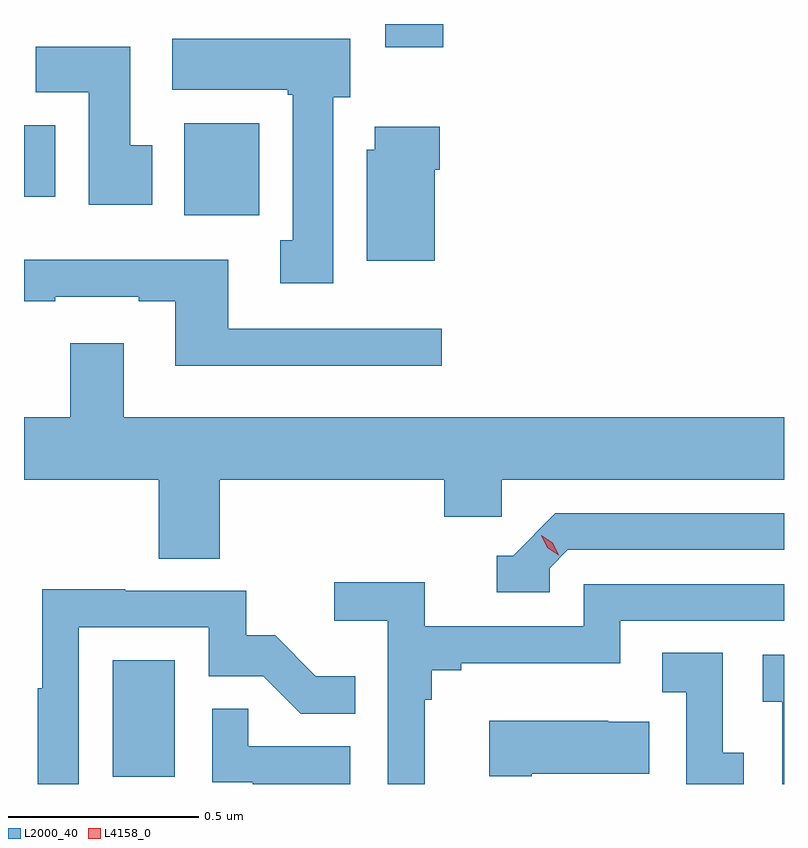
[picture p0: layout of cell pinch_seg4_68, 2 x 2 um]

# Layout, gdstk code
import gdstk
lib = gdstk.Library(unit=1e-6, precision=1e-09)
def R(c, l, rs):  # rectangles x0, y0, x1, y1
    for r in rs: c.add(gdstk.rectangle(r[:2], r[2:], *l))
def P(c, l, *ps):  # polygons
    for p in ps: c.add(gdstk.Polygon(p, *l))
L2000_40 = (2000, 40)
L4158_0 = (4158, 0)

pinch_seg4_68 = lib.new_cell('pinch_seg4_68')
R(pinch_seg4_68, L2000_40, [(1041.554,830.67,1041.718,830.977), (1041.743,832.148,1041.94,832.39), (1041.321,832.196,1041.403,832.384), (1042.271,832.59,1042.424,832.651)])
P(pinch_seg4_68, L2000_40, [(1042.135,832.458),(1042.18,832.458),(1042.18,832.612),(1041.711,832.612),(1041.711,832.478),(1042.015,832.478),(1042.015,832.465),(1042.028,832.465),(1042.028,832.082),(1041.995,832.082),(1041.995,831.969),(1042.135,831.969)],
  [(1041.658,832.332),(1041.601,832.332),(1041.601,832.591),(1041.352,832.591),(1041.352,832.472),(1041.491,832.472),(1041.491,832.176),(1041.658,832.176)],
  [(1042.402,832.268),(1042.415,832.268),(1042.415,832.381),(1042.244,832.381),(1042.244,832.32),(1042.223,832.32),(1042.223,832.028),(1042.402,832.028)],
  [(1042.42,831.849),(1041.859,831.849),(1041.859,832.03),(1041.321,832.03),(1041.321,831.921),(1041.403,831.921),(1041.403,831.933),(1041.623,831.933),(1041.623,831.921),(1041.719,831.921),(1041.719,831.752),(1042.42,831.752)],
  [(1041.836,831.452),(1042.427,831.452),(1042.427,831.354),(1042.578,831.354),(1042.578,831.452),(1043.321,831.452),(1043.321,831.616),(1041.583,831.616),(1041.583,831.811),(1041.443,831.811),(1041.443,831.616),(1041.321,831.616),(1041.321,831.452),(1041.676,831.452),(1041.676,831.244),(1041.836,831.244)],
  [(1042.704,831.219),(1042.752,831.267),(1043.321,831.267),(1043.321,831.363),(1042.719,831.363),(1042.608,831.252),(1042.565,831.252),(1042.565,831.156),(1042.704,831.156)],
  [(1042.375,830.873),(1042.394,830.873),(1042.394,830.95),(1042.471,830.95),(1042.471,830.969),(1042.89,830.969),(1042.89,831.081),(1043.321,831.081),(1043.321,831.177),(1042.794,831.177),(1042.794,831.066),(1042.376,831.066),(1042.376,831.182),(1042.137,831.182),(1042.137,831.08),(1042.278,831.08),(1042.278,830.651),(1042.375,830.651)],
  [(1041.465,831.063),(1041.807,831.063),(1041.807,830.934),(1041.951,830.934),(1042.049,830.836),(1042.193,830.836),(1042.193,830.935),(1042.089,830.935),(1041.982,831.042),(1041.906,831.042),(1041.906,831.159),(1041.587,831.159),(1041.587,831.164),(1041.369,831.164),(1041.369,830.903),(1041.357,830.903),(1041.357,830.651),(1041.465,830.651)],
  [(1043.215,830.733),(1043.16,830.733),(1043.16,830.996),(1043.001,830.996),(1043.001,830.893),(1043.064,830.893),(1043.064,830.651),(1043.215,830.651)],
  [(1043.321,830.991),(1043.265,830.991),(1043.265,830.867),(1043.316,830.867),(1043.316,830.651),(1043.321,830.651)],
  [(1042.18,830.751),(1041.911,830.751),(1041.911,830.849),(1041.816,830.849),(1041.816,830.655),(1041.923,830.655),(1041.923,830.651),(1042.18,830.651)],
  [(1042.657,830.678),(1042.967,830.678),(1042.967,830.815),(1042.859,830.815),(1042.859,830.818),(1042.545,830.818),(1042.545,830.671),(1042.657,830.671)])
P(pinch_seg4_68, L4158_0, [(1042.728,831.253),(1042.698,831.273),(1042.682,831.306),(1042.682,831.306),(1042.682,831.306),(1042.713,831.286),(1042.728,831.254),(1042.728,831.253)])

lib.write_gds('pinch_seg4_68.gds')
